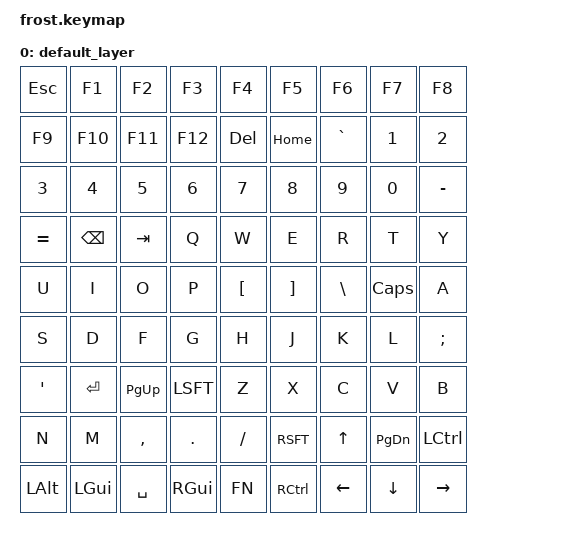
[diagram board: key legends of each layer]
/*
 * Copyright (c) 2022 The ZMK Contributors
 *
 * SPDX-License-Identifier: MIT
 */

#include <behaviors.dtsi>
#include <dt-bindings/zmk/keys.h>
#include <dt-bindings/zmk/bt.h>

/ {
    keymap {
        compatible = "zmk,keymap";

        default_layer {
            bindings = <
                &kp ESC    &kp F1     &kp F2     &kp F3     &kp F4     &kp F5     &kp F6     &kp F7     &kp F8
                &kp F9     &kp F10    &kp F11    &kp F12    &kp DEL    &kp HOME   &kp GRAVE  &kp N1     &kp N2
                &kp N3     &kp N4     &kp N5     &kp N6     &kp N7     &kp N8     &kp N9     &kp N0     &kp MINUS
                &kp EQUAL  &kp BSPC   &kp TAB    &kp Q      &kp W      &kp E      &kp R      &kp T      &kp Y
                &kp U      &kp I      &kp O      &kp P      &kp LBKT   &kp RBKT   &kp BSLH   &kp CAPS   &kp A
                &kp S      &kp D      &kp F      &kp G      &kp H      &kp J      &kp K      &kp L      &kp SEMI
                &kp SQT    &kp RET    &kp PG_UP  &kp LSFT   &kp Z      &kp X      &kp C      &kp V      &kp B
                &kp N      &kp M      &kp COMMA  &kp DOT    &kp SLASH  &kp RSFT   &kp UP     &kp PG_DN  &kp LCTRL
                &kp LALT   &kp LGUI   &kp SPACE  &kp RGUI   &kp FN     &kp RCTRL  &kp LEFT   &kp DOWN   &kp RIGHT
            >;
        };
    };
};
